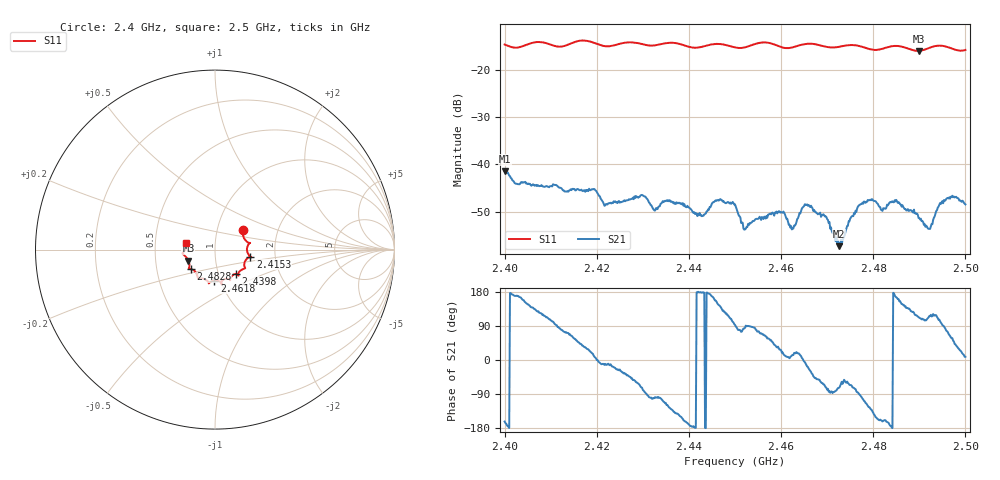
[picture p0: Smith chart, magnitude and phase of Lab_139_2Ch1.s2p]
# Hz S RI R 50
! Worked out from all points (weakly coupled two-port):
!   601 points, 2.4 GHz to 2.5 GHz, reference 50 ohm
!   highest |S21| = -41.46 dB at 2.4 GHz (marker M1); lowest = -57.3 dB at 2.4725 GHz (marker M2)
!   lowest |S11| = -15.9 dB at 2.4898 GHz (marker M3), VSWR 1.38, Z = 36.8 - j4.64 ohm
!   |S11| at or under -10 dB: start of sweep to end of sweep
!   S12 and S22 are empty: the file has one direction only
!   S11 on the Smith chart (normalised r, x): 2.4 GHz: 1.33, +0.29; 2.4153 GHz: 1.48, -0.12; 2.4398 GHz: 1.21, -0.34; 2.4618 GHz: 0.94, -0.33; 2.4828 GHz: 0.74, -0.17; 2.5 GHz: 0.72, +0.06
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2.4e9  0.1545 0.1068  -0.00806 -0.00256  0 0  0 0
2.402667e9  0.1616 0.0639  -0.00614 0.00109  0 0  0 0
2.415333e9  0.1965 -0.0388  0.003 0.00438  0 0  0 0
2.416667e9  0.2024 -0.043  0.00406 0.00358  0 0  0 0
2.422e9  0.1678 -0.0641  0.00371 -0.000823  0 0  0 0
2.43e9  0.1533 -0.1102  0.000901 -0.0046  0 0  0 0
2.433333e9  0.1299 -0.1344  -0.000469 -0.00349  0 0  0 0
2.439833e9  0.1151 -0.136  -0.00348 -0.000716  0 0  0 0
2.45e9  0.065 -0.1624  -0.000178 0.00377  0 0  0 0
2.452167e9  0.0432 -0.1698  0.000176 0.00203  0 0  0 0
2.459167e9  0.0291 -0.1803  0.00253 0.00166  0 0  0 0
2.461833e9  -0.0035 -0.1725  0.00229 0.000184  0 0  0 0
2.466667e9  -0.0347 -0.1878  0.00285 -0.00206  0 0  0 0
2.469667e9  -0.0448 -0.1723  0.000884 -0.00268  0 0  0 0
2.4725e9  -0.0756 -0.1601  0.000382 -0.0013  0 0  0 0
2.477167e9  -0.0969 -0.1519  -0.000201 -0.00374  0 0  0 0
2.482833e9  -0.136 -0.1086  -0.0033 -0.00104  0 0  0 0
2.483333e9  -0.1397 -0.1083  -0.00368 -0.000915  0 0  0 0
2.489833e9  -0.1482 -0.0614  -0.00108 0.00248  0 0  0 0
2.492e9  -0.168 -0.0344  -0.000795 0.00192  0 0  0 0
2.495833e9  -0.1773 -0.0159  0.00091 0.00421  0 0  0 0
2.5e9  -0.1595 0.039  0.00373 0.000559  0 0  0 0
